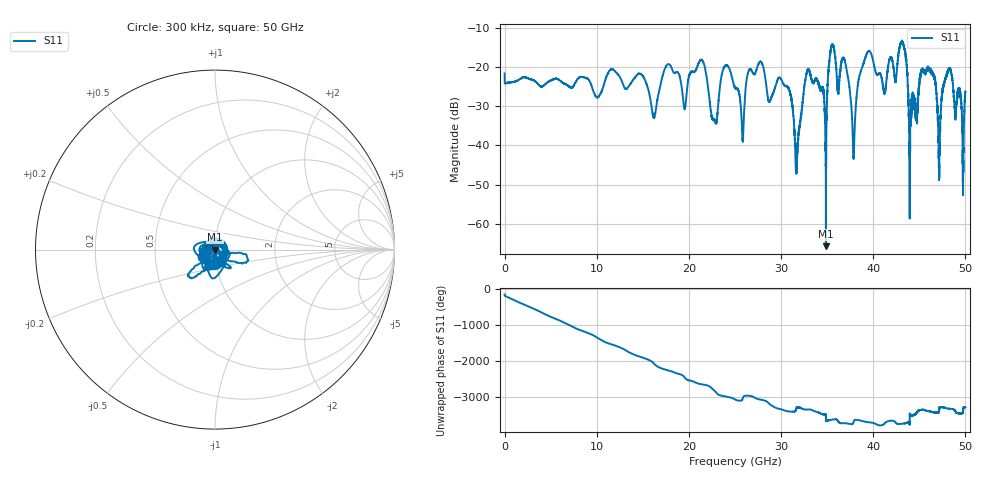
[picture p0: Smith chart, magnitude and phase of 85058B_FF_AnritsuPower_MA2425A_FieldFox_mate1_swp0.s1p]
!Created with skrf (http://scikit-rf.org).
# Hz S RI R 50.0
!freq ReS11 ImS11
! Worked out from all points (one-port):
!   10001 points, 300 kHz to 50 GHz, reference 50 ohm
!   lowest |S11| = -65.7 dB at 34.87 GHz (marker M1), VSWR 1.00, Z = 50 + j0.0511 ohm
!   |S11| at or under -10 dB: start of sweep to end of sweep
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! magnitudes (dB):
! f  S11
! 300 kHz  -21.6
! 6.25 GHz  -23.9
! 12.5 GHz  -22.5
! 16.2 GHz  -32.9
! 18.75 GHz  -21.2
! 19.54 GHz  -30.7
! 21.46 GHz  -18.3
! 22.79 GHz  -33.5
! 23.86 GHz  -19.8
! 25 GHz  -25.2
! 25.83 GHz  -38.6
! 26.46 GHz  -21.1
! 27.79 GHz  -18.6
! 31.25 GHz  -30.4
! 31.74 GHz  -43.4
! 32.96 GHz  -20.6
! 34.87 GHz  -65.7
! 35.56 GHz  -14.4
! 37.5 GHz  -26.8
! 37.88 GHz  -43.1
! 39.34 GHz  -16.4
! 41.2 GHz  -26.7
! 43.11 GHz  -13.6
! 43.75 GHz  -24.4
! 46.16 GHz  -20.4
! 47.18 GHz  -40.3
! 48.25 GHz  -20.5
! 50 GHz  -26.2
